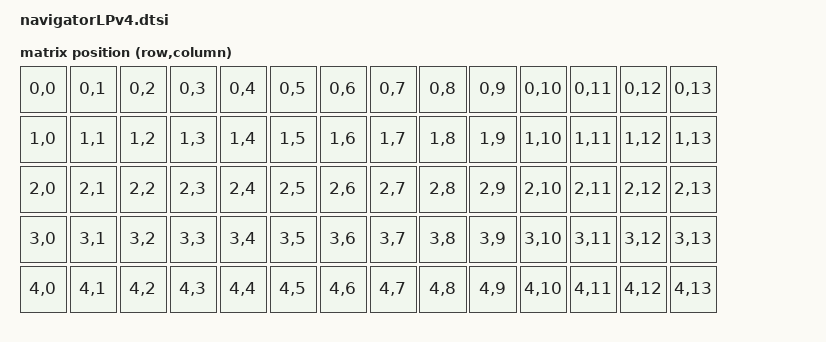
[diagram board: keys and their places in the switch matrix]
#include <dt-bindings/zmk/matrix_transform.h>

/ {
    chosen {
        zmk,kscan = &kscan0;
        zmk,matrix_transform = &default_transform;
    };

    default_transform: keymap_transform_0 {
        compatible = "zmk,matrix-transform";
        columns = <14>;
        rows = <5>;

        map = <
RC(0,0) RC(0,1) RC(0,2) RC(0,3) RC(0,4) RC(0,5) RC(0,6) RC(0,7) RC(0,8) RC(0,9) RC(0,10) RC(0,11) RC(0,12) RC(0,13)
RC(1,0) RC(1,1) RC(1,2) RC(1,3) RC(1,4) RC(1,5) RC(1,6) RC(1,7) RC(1,8) RC(1,9) RC(1,10) RC(1,11) RC(1,12) RC(1,13)
RC(2,0) RC(2,1) RC(2,2) RC(2,3) RC(2,4) RC(2,5) RC(2,6) RC(2,7) RC(2,8) RC(2,9) RC(2,10) RC(2,11) RC(2,12) RC(2,13)
RC(3,0) RC(3,1) RC(3,2) RC(3,3) RC(3,4) RC(3,5) RC(3,6) RC(3,7) RC(3,8) RC(3,9) RC(3,10) RC(3,11) RC(3,12) RC(3,13)
RC(4,0) RC(4,1) RC(4,2) RC(4,3) RC(4,4) RC(4,5) RC(4,6) RC(4,7) RC(4,8) RC(4,9) RC(4,10) RC(4,11) RC(4,12) RC(4,13)
        >;
    };

    kscan0: kscan {
        compatible = "zmk,kscan-gpio-matrix";
        label = "KSCAN";

        diode-direction = "col2row";
    };

    // /* Define the SPI bus for the nice!view */
    // nice_view_spi: nice_view_spi {
    //     compatible = "spi-gpio";
    //     #address-cells = <1>;
    //     #size-cells = <0>;

    //     /* 1. Map these to the exact pins you routed on your navigatorLPv4 PCB */
    //     sck-gpios = <&pro_micro 3 (GPIO_ACTIVE_HIGH | GPIO_PULL_DOWN)>;
    //     mosi-gpios = <&pro_micro 2 (GPIO_ACTIVE_HIGH | GPIO_PULL_DOWN)>;
    //     cs-gpios = <&pro_micro 1 GPIO_ACTIVE_HIGH>;

    //     /* 2. The nice!view doesn't use MISO, but the compiler strictly requires it */
    //     /* Assign this to any unused pin on your microcontroller */
    //     miso-gpios = <&pro_micro 0 (GPIO_ACTIVE_HIGH | GPIO_PULL_DOWN)>; 
    // };
};

&pinctrl {
    spi0_default: spi0_default {
        group1 {
            /* Translating your D2 and D3 into raw Nordic pin numbers */
            psels = <NRF_PSEL(SPIM_SCK, 0, 20)>,
                    <NRF_PSEL(SPIM_MOSI, 0, 17)>;
        };
    };
    spi0_sleep: spi0_sleep {
        group1 {
            psels = <NRF_PSEL(SPIM_SCK, 0, 20)>,
                    <NRF_PSEL(SPIM_MOSI, 0, 17)>;
            low-power-enable;
        };
    };
};

&spi0 {
    status = "okay";
    compatible = "nordic,nrf-spim";
    pinctrl-0 = <&spi0_default>;
    pinctrl-1 = <&spi0_sleep>;
    pinctrl-names = "default", "sleep";
    cs-gpios = <&pro_micro 1 GPIO_ACTIVE_HIGH>;
};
